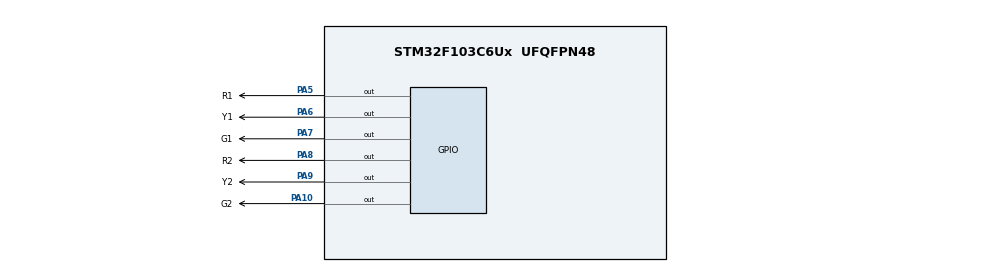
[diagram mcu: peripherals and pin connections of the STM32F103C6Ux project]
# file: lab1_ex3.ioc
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Mcu.Family=STM32F1
Mcu.Name=STM32F103C6Ux
Mcu.Package=UFQFPN48
NVIC.PriorityGroup=NVIC_PRIORITYGROUP_4
PA10.GPIO_Label=G2
PA10.Signal=GPIO_Output
PA5.GPIO_Label=R1
PA5.Signal=GPIO_Output
PA6.GPIO_Label=Y1
PA6.Signal=GPIO_Output
PA7.GPIO_Label=G1
PA7.Signal=GPIO_Output
PA8.GPIO_Label=R2
PA8.Signal=GPIO_Output
PA9.GPIO_Label=Y2
PA9.Signal=GPIO_Output
ProjectManager.HeapSize=0x200
ProjectManager.StackSize=0x400
ProjectManager.TargetToolchain=STM32CubeIDE
RCC.APB1Freq_Value=8000000
RCC.APB2Freq_Value=8000000
VP_SYS_VS_ND.Mode=No_Debug
board=custom

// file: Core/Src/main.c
/* USER CODE BEGIN Header */
/**
  ******************************************************************************
  * @file           : main.c
  * @brief          : Main program body
  ******************************************************************************
  * @attention
  *
  * <h2><center>&copy; Copyright (c) 2022 STMicroelectronics.
  * All rights reserved.</center></h2>
  *
  * This software component is licensed by ST under BSD 3-Clause license,
  * the "License"; You may not use this file except in compliance with the
  * License. You may obtain a copy of the License at:
  *                        opensource.org/licenses/BSD-3-Clause
  *
  ******************************************************************************
  */
/* USER CODE END Header */
#include "main.h"

void SystemClock_Config(void);
static void MX_GPIO_Init(void);

int main(void)
{

  /* MCU Configuration--------------------------------------------------------*/

  /* Reset of all peripherals, Initializes the Flash interface and the Systick. */
  HAL_Init();

  /* Configure the system clock */
  SystemClock_Config();

  /* Initialize all configured peripherals */
  MX_GPIO_Init();
  /* USER CODE BEGIN 2 */
  int count1 = 0;
  int count2 = 0;
  /* USER CODE END 2 */

  /* Infinite loop */
  while (1)
  {

    /* USER CODE BEGIN 3 */
	  if(count1 < 5) { //first red (5s)
		  HAL_GPIO_WritePin(R1_GPIO_Port, R1_Pin, RESET);
		  HAL_GPIO_WritePin(Y1_GPIO_Port, Y1_Pin, SET);
		  HAL_GPIO_WritePin(G1_GPIO_Port, G1_Pin, SET);
	  }
	  else {
		  if(count1 < 8) { //then green (3s)
			  HAL_GPIO_WritePin(R1_GPIO_Port, R1_Pin, SET);
			  HAL_GPIO_WritePin(Y1_GPIO_Port, Y1_Pin, SET);
			  HAL_GPIO_WritePin(G1_GPIO_Port, G1_Pin, RESET);
		  }
		  else { //finally yellow (2s)
			  HAL_GPIO_WritePin(R1_GPIO_Port, R1_Pin, SET);
			  HAL_GPIO_WritePin(Y1_GPIO_Port, Y1_Pin, RESET);
			  HAL_GPIO_WritePin(G1_GPIO_Port, G1_Pin, SET);
		  }
	  }

	  count1++;
	  if(count1 >= 10)
		  count1 = 0; //back to red

	  if(count2 < 3) { //first green (3s)
		  HAL_GPIO_WritePin(R2_GPIO_Port, R2_Pin, SET);
		  HAL_GPIO_WritePin(Y2_GPIO_Port, Y2_Pin, SET);
		  HAL_GPIO_WritePin(G2_GPIO_Port, G2_Pin, RESET);
	  }
	  else {
		  if(count2 < 5) { //then yellow (2s)
			  HAL_GPIO_WritePin(R2_GPIO_Port, R2_Pin, SET);
			  HAL_GPIO_WritePin(Y2_GPIO_Port, Y2_Pin, RESET);
			  HAL_GPIO_WritePin(G2_GPIO_Port, G2_Pin, SET);
		  }
		  else { //finally red (5s)
			  HAL_GPIO_WritePin(R2_GPIO_Port, R2_Pin, RESET);
			  HAL_GPIO_WritePin(Y2_GPIO_Port, Y2_Pin, SET);
			  HAL_GPIO_WritePin(G2_GPIO_Port, G2_Pin, SET);
		  }
	  }

	  count2++;
	  if(count2 >= 10)
		  count2 = 0; //back to green
	  HAL_Delay(1000);
  }
  /* USER CODE END 3 */
}

void SystemClock_Config(void)
{
  RCC_OscInitTypeDef RCC_OscInitStruct = {0};
  RCC_ClkInitTypeDef RCC_ClkInitStruct = {0};

  /** Initializes the RCC Oscillators according to the specified parameters
  * in the RCC_OscInitTypeDef structure.
  */
  RCC_OscInitStruct.OscillatorType = RCC_OSCILLATORTYPE_HSI;
  RCC_OscInitStruct.HSIState = RCC_HSI_ON;
  RCC_OscInitStruct.HSICalibrationValue = RCC_HSICALIBRATION_DEFAULT;
  RCC_OscInitStruct.PLL.PLLState = RCC_PLL_NONE;
  if (HAL_RCC_OscConfig(&RCC_OscInitStruct) != HAL_OK)
  {
    Error_Handler();
  }
  /** Initializes the CPU, AHB and APB buses clocks
  */
  RCC_ClkInitStruct.ClockType = RCC_CLOCKTYPE_HCLK|RCC_CLOCKTYPE_SYSCLK
                              |RCC_CLOCKTYPE_PCLK1|RCC_CLOCKTYPE_PCLK2;
  RCC_ClkInitStruct.SYSCLKSource = RCC_SYSCLKSOURCE_HSI;
  RCC_ClkInitStruct.AHBCLKDivider = RCC_SYSCLK_DIV1;
  RCC_ClkInitStruct.APB1CLKDivider = RCC_HCLK_DIV1;
  RCC_ClkInitStruct.APB2CLKDivider = RCC_HCLK_DIV1;

  if (HAL_RCC_ClockConfig(&RCC_ClkInitStruct, FLASH_LATENCY_0) != HAL_OK)
  {
    Error_Handler();
  }
}

static void MX_GPIO_Init(void)
{
  GPIO_InitTypeDef GPIO_InitStruct = {0};

  /* GPIO Ports Clock Enable */
  __HAL_RCC_GPIOA_CLK_ENABLE();

  /*Configure GPIO pin Output Level */
  HAL_GPIO_WritePin(GPIOA, R1_Pin|Y1_Pin|G1_Pin|R2_Pin
                          |Y2_Pin|G2_Pin, GPIO_PIN_RESET);

  /*Configure GPIO pins : R1_Pin Y1_Pin G1_Pin R2_Pin
                           Y2_Pin G2_Pin */
  GPIO_InitStruct.Pin = R1_Pin|Y1_Pin|G1_Pin|R2_Pin
                          |Y2_Pin|G2_Pin;
  GPIO_InitStruct.Mode = GPIO_MODE_OUTPUT_PP;
  GPIO_InitStruct.Pull = GPIO_NOPULL;
  GPIO_InitStruct.Speed = GPIO_SPEED_FREQ_LOW;
  HAL_GPIO_Init(GPIOA, &GPIO_InitStruct);

}

void Error_Handler(void)
{
  __disable_irq();
  while (1)
  {
  }
}

/************************ (C) COPYRIGHT STMicroelectronics *****END OF FILE****/
